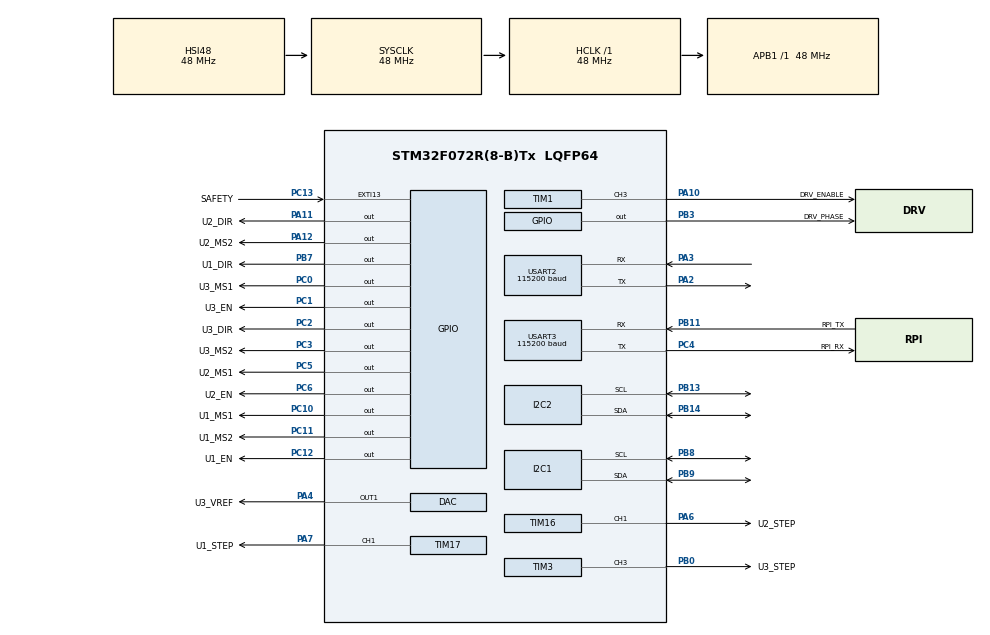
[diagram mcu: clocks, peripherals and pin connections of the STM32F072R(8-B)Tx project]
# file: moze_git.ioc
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CRC.InputDataInversionMode=CRC_INPUTDATA_INVERSION_BYTE
CRC.OutputDataInversionMode=CRC_OUTPUTDATA_INVERSION_ENABLE
Dma.Request0=USART3_RX
Dma.USART3_RX.0.Direction=DMA_PERIPH_TO_MEMORY
Dma.USART3_RX.0.Instance=DMA1_Channel3
Dma.USART3_RX.0.MemDataAlignment=DMA_MDATAALIGN_BYTE
Dma.USART3_RX.0.MemInc=DMA_MINC_ENABLE
Dma.USART3_RX.0.Mode=DMA_CIRCULAR
Dma.USART3_RX.0.PeriphDataAlignment=DMA_PDATAALIGN_BYTE
Dma.USART3_RX.0.PeriphInc=DMA_PINC_DISABLE
Dma.USART3_RX.0.Priority=DMA_PRIORITY_LOW
I2C1.I2C_Fall_Time=0
I2C1.I2C_Rise_Time=0
I2C2.Timing=0x20303E5D
Mcu.Family=STM32F0
Mcu.Name=STM32F072R(8-B)Tx
Mcu.Package=LQFP64
NVIC.DMA1_Channel2_3_IRQn=true\:0\:0\:false\:false\:true\:true\:true\:true
NVIC.EXTI4_15_IRQn=true\:0\:0\:false\:false\:true\:true\:true\:true
NVIC.TIM2_IRQn=true\:0\:0\:false\:false\:true\:true\:true\:true
NVIC.TIM6_DAC_IRQn=true\:0\:0\:false\:false\:true\:true\:true\:true
NVIC.TIM7_IRQn=true\:0\:0\:false\:false\:true\:true\:true\:true
NVIC.USART2_IRQn=true\:0\:0\:false\:false\:true\:true\:true\:true
NVIC.USART3_4_IRQn=true\:0\:0\:false\:false\:true\:true\:true\:true
PA10.GPIO_Label=DRV_ENABLE
PA10.Signal=S_TIM1_CH3
PA11.GPIO_Label=U2_DIR
PA11.Signal=GPIO_Output
PA12.GPIO_Label=U2_MS2
PA12.Signal=GPIO_Output
PA2.Mode=Asynchronous
PA2.Signal=USART2_TX
PA3.Mode=Asynchronous
PA3.Signal=USART2_RX
PA4.GPIO_Label=U3_VREF
PA4.Signal=COMP_DAC1_group
PA6.GPIO_Label=U2_STEP
PA6.Signal=S_TIM16_CH1
PA7.GPIO_Label=U1_STEP
PA7.Signal=S_TIM17_CH1
PB0.GPIO_Label=U3_STEP
PB0.Signal=S_TIM3_CH3
PB11.GPIO_Label=RPI_TX
PB11.Mode=Asynchronous
PB11.Signal=USART3_RX
PB13.Mode=I2C
PB13.Signal=I2C2_SCL
PB14.Mode=I2C
PB14.Signal=I2C2_SDA
PB3.GPIO_Label=DRV_PHASE
PB3.Signal=GPIO_Output
PB7.GPIO_Label=U1_DIR
PB7.Signal=GPIO_Output
PB8.Mode=I2C
PB8.Signal=I2C1_SCL
PB9.Mode=I2C
PB9.Signal=I2C1_SDA
PC0.GPIO_Label=U3_MS1
PC0.Signal=GPIO_Output
PC1.GPIO_Label=U3_EN
PC1.Signal=GPIO_Output
PC10.GPIO_Label=U1_MS1
PC10.Signal=GPIO_Output
PC11.GPIO_Label=U1_MS2
PC11.Signal=GPIO_Output
PC12.GPIO_Label=U1_EN
PC12.Signal=GPIO_Output
PC13.GPIO_Label=SAFETY
PC13.GPIO_PuPd=GPIO_PULLUP
PC13.Signal=GPXTI13
PC14-OSC32_IN.Mode=LSE-External-Oscillator
PC14-OSC32_IN.Signal=RCC_OSC32_IN
PC15-OSC32_OUT.Mode=LSE-External-Oscillator
PC15-OSC32_OUT.Signal=RCC_OSC32_OUT
PC2.GPIO_Label=U3_DIR
PC2.Signal=GPIO_Output
PC3.GPIO_Label=U3_MS2
PC3.Signal=GPIO_Output
PC4.GPIO_Label=RPI_RX
PC4.Mode=Asynchronous
PC4.Signal=USART3_TX
PC5.GPIO_Label=U2_MS1
PC5.Signal=GPIO_Output
PC6.GPIO_Label=U2_EN
PC6.Signal=GPIO_Output
ProjectManager.HeapSize=0x200
ProjectManager.StackSize=0x400
ProjectManager.TargetToolchain=STM32CubeIDE
RCC.AHBFreq_Value=48000000
RCC.APB1Freq_Value=48000000
RCC.APB1TimFreq_Value=48000000
RCC.HCLKFreq_Value=48000000
RCC.SYSCLKFreq_VALUE=48000000
RCC.SYSCLKSource=RCC_SYSCLKSOURCE_HSI48
SH.COMP_DAC1_group.0=DAC_OUT1,DAC_OUT1
SH.S_TIM16_CH1.0=TIM16_CH1,PWM Generation1 CH1
SH.S_TIM17_CH1.0=TIM17_CH1,PWM Generation1 CH1
SH.S_TIM1_CH3.0=TIM1_CH3,PWM Generation3 CH3
SH.S_TIM3_CH3.0=TIM3_CH3,PWM Generation3 CH3
TIM1.Channel-PWM\ Generation3\ CH3=TIM_CHANNEL_3
TIM1.Period=100-1
TIM1.Prescaler=3-1
TIM16.Channel=TIM_CHANNEL_1
TIM17.Channel=TIM_CHANNEL_1
TIM2.Period=10-1
TIM2.Prescaler=48000-1
TIM3.Channel-PWM\ Generation3\ CH3=TIM_CHANNEL_3
TIM3.Period=124
TIM3.Prescaler=47
TIM3.Pulse-PWM\ Generation3\ CH3=62
TIM7.Period=50-1
TIM7.Prescaler=48000-1
USART2.BaudRate=115200
USART2.VirtualMode-Asynchronous=VM_ASYNC
USART3.BaudRate=115200
USART3.DMADisableonRxErrorParam=ADVFEATURE_DMA_DISABLEONRXERROR
USART3.OverrunDisableParam=ADVFEATURE_OVERRUN_DISABLE
USART3.VirtualMode-Asynchronous=VM_ASYNC
VP_CRC_VS_CRC.Mode=CRC_Activate
VP_RCC_LSE.Mode=CRS SYNC Source LSE
VP_TIM16_VS_ClockSourceINT.Mode=Enable_Timer
VP_TIM17_VS_ClockSourceINT.Mode=Enable_Timer
VP_TIM1_VS_ClockSourceINT.Mode=Internal
VP_TIM2_VS_ClockSourceINT.Mode=Internal
VP_TIM3_VS_ClockSourceINT.Mode=Internal
VP_TIM7_VS_ClockSourceINT.Mode=Enable_Timer
board=custom

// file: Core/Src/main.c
/* USER CODE BEGIN Header */
/**
  ******************************************************************************
  * @file           : main.c
  * @brief          : Main program body
  ******************************************************************************
  * @attention
  *
  * Copyright (c) 2025 STMicroelectronics.
  * All rights reserved.
  *
  * This software is licensed under terms that can be found in the LICENSE file
  * in the root directory of this software component.
  * If no LICENSE file comes with this software, it is provided AS-IS.
  *
  ******************************************************************************
  */
/* USER CODE END Header */
#include "main.h"
#include "crc.h"
#include "dac.h"
#include "dma.h"
#include "i2c.h"
#include "tim.h"
#include "usart.h"
#include "gpio.h"

/* USER CODE BEGIN Includes */
#include "scara.h"
#include "tool.h"
/* USER CODE END Includes */

/* USER CODE BEGIN PV */
JOINT U1, U2, U3;
TOOL T;

#define BUFF_SIZE 40
uint8_t rx_buff[BUFF_SIZE], tx_buff[BUFF_SIZE];

float u, threshold = 0.15, u_last;
volatile uint8_t u1_done, u2_done, u3_done, tool_done;
/* USER CODE END PV */

void SystemClock_Config(void);
/* USER CODE BEGIN PFP */
void PresentationProcess(void);
/* USER CODE END PFP */

int main(void)
{

  /* MCU Configuration--------------------------------------------------------*/

  /* Reset of all peripherals, Initializes the Flash interface and the Systick. */
  HAL_Init();

  /* Configure the system clock */
  SystemClock_Config();

  /* Initialize all configured peripherals */
  MX_GPIO_Init();
  MX_DMA_Init();
  MX_DAC_Init();
  MX_I2C1_Init();
  MX_TIM1_Init();
  MX_TIM3_Init();
  MX_TIM16_Init();
  MX_TIM17_Init();
  MX_USART3_UART_Init();
  MX_TIM2_Init();
  MX_CRC_Init();
  MX_USART2_UART_Init();
  MX_TIM7_Init();
  MX_I2C2_Init();
  /* USER CODE BEGIN 2 */
  	  ToolInit();
	U1Init();
	U2Init();
	HAL_TIM_Base_Start_IT(&htim2);

	U3Init();
	HAL_TIM_Base_Start_IT(&htim7);

	HAL_UARTEx_ReceiveToIdle_DMA(&huart3, rx_buff, BUFF_SIZE - 4);
  /* USER CODE END 2 */

  /* Infinite loop */
  /* USER CODE BEGIN WHILE */
  while (1)
  {
	if (U1.meas.need_meas) {
		AS5600 *pas = &U1.meas.sen.enc;
		HAL_I2C_Mem_Read(pas->phi2c, pas->dev_addr << 1, pas->mem_addr, 1, pas->buff, 2, 5);
		UpdateAngleMeas(&U1.meas);
	}

	if (U2.meas.need_meas) {
		AS5600 *pas = &U2.meas.sen.enc;
		HAL_I2C_Mem_Read(pas->phi2c, pas->dev_addr << 1, pas->mem_addr, 1, pas->buff, 2, 5);
		UpdateAngleMeas(&U2.meas);
	} else if (U3.meas.need_meas) {
		MEAS *pmeas = &U3.meas;
		VL53L0X_RangingMeasurementData_t RangingData;
		VL53L0X_Error status = VL53L0X_GetRangingMeasurementData(pmeas->sen.tof.Dev, &RangingData);
		VL53L0X_ClearInterruptMask(pmeas->sen.tof.Dev, VL53L0X_REG_SYSTEM_INTERRUPT_GPIO_NEW_SAMPLE_READY);
		if (status == VL53L0X_ERROR_NONE && RangingData.RangeMilliMeter < 160.0 && RangingData.RangeMilliMeter > 30.0) {
			pmeas->measurement = (float)RangingData.RangeMilliMeter;
		}
		pmeas->need_meas = FALSE;
	} else if (T.ina.need_curr) {
		HAL_I2C_Mem_Read(T.ina.phi2c, T.ina.dev_addr << 1, T.ina.mem_addr, 1, T.ina.buff, 2, 5);
		uint16_t raw_voltage = (int16_t)((T.ina.buff[0] << 8) | T.ina.buff[1]);
		T.ina.curr = ((float)raw_voltage * 2.5e-6 * T.ina.sign) / T.ina.R_shunt;
		T.ina.need_curr = FALSE;
	}

	PresentationProcess();
    /* USER CODE END WHILE */

  }
}

void SystemClock_Config(void)
{
  RCC_OscInitTypeDef RCC_OscInitStruct = {0};
  RCC_ClkInitTypeDef RCC_ClkInitStruct = {0};
  RCC_PeriphCLKInitTypeDef PeriphClkInit = {0};
  RCC_CRSInitTypeDef RCC_CRSInitStruct = {0};

  /** Configure LSE Drive Capability
  */
  HAL_PWR_EnableBkUpAccess();
  __HAL_RCC_LSEDRIVE_CONFIG(RCC_LSEDRIVE_HIGH);

  /** Initializes the RCC Oscillators according to the specified parameters
  * in the RCC_OscInitTypeDef structure.
  */
  RCC_OscInitStruct.OscillatorType = RCC_OSCILLATORTYPE_HSI|RCC_OSCILLATORTYPE_HSI48
                              |RCC_OSCILLATORTYPE_LSE;
  RCC_OscInitStruct.LSEState = RCC_LSE_ON;
  RCC_OscInitStruct.HSIState = RCC_HSI_ON;
  RCC_OscInitStruct.HSI48State = RCC_HSI48_ON;
  RCC_OscInitStruct.HSICalibrationValue = RCC_HSICALIBRATION_DEFAULT;
  RCC_OscInitStruct.PLL.PLLState = RCC_PLL_NONE;
  if (HAL_RCC_OscConfig(&RCC_OscInitStruct) != HAL_OK)
  {
    Error_Handler();
  }

  /** Initializes the CPU, AHB and APB buses clocks
  */
  RCC_ClkInitStruct.ClockType = RCC_CLOCKTYPE_HCLK|RCC_CLOCKTYPE_SYSCLK
                              |RCC_CLOCKTYPE_PCLK1;
  RCC_ClkInitStruct.SYSCLKSource = RCC_SYSCLKSOURCE_HSI48;
  RCC_ClkInitStruct.AHBCLKDivider = RCC_SYSCLK_DIV1;
  RCC_ClkInitStruct.APB1CLKDivider = RCC_HCLK_DIV1;

  if (HAL_RCC_ClockConfig(&RCC_ClkInitStruct, FLASH_LATENCY_1) != HAL_OK)
  {
    Error_Handler();
  }
  PeriphClkInit.PeriphClockSelection = RCC_PERIPHCLK_USART2|RCC_PERIPHCLK_I2C1;
  PeriphClkInit.Usart2ClockSelection = RCC_USART2CLKSOURCE_PCLK1;
  PeriphClkInit.I2c1ClockSelection = RCC_I2C1CLKSOURCE_HSI;
  if (HAL_RCCEx_PeriphCLKConfig(&PeriphClkInit) != HAL_OK)
  {
    Error_Handler();
  }

  /** Enable the SYSCFG APB clock
  */
  __HAL_RCC_CRS_CLK_ENABLE();

  /** Configures CRS
  */
  RCC_CRSInitStruct.Prescaler = RCC_CRS_SYNC_DIV1;
  RCC_CRSInitStruct.Source = RCC_CRS_SYNC_SOURCE_LSE;
  RCC_CRSInitStruct.Polarity = RCC_CRS_SYNC_POLARITY_RISING;
  RCC_CRSInitStruct.ReloadValue = __HAL_RCC_CRS_RELOADVALUE_CALCULATE(48000000,32768);
  RCC_CRSInitStruct.ErrorLimitValue = 34;
  RCC_CRSInitStruct.HSI48CalibrationValue = 32;

  HAL_RCCEx_CRSConfig(&RCC_CRSInitStruct);
}

/* USER CODE BEGIN 4 */
void ToolInit(void) {
	{
		INA226 *pina = &T.ina;
		pina->phi2c = &hi2c2;
		pina->dev_addr = 0x40;
		pina->mem_addr = 0x01;
		pina->R_shunt = 0.1;
		pina->sign = -1.0;
	}
	{
		DC_MOT *pmot = &T.mot;
		pmot->dir_port = DRV_PHASE_GPIO_Port;
		pmot->dir_pin = DRV_PHASE_Pin;
		pmot->ppulse = &TIM1->CCR3;
		pmot->psign = &T.ina.sign;
	}
	{	//Kalman
		CALMAN *pcal = &T.cal;
		pcal->A[0][0] = 1.0; pcal->A[0][1] = 0.007869387;
		pcal->A[1][0] = 0.0; pcal->A[1][1] = 0.6065306;
		pcal->B[0] = 0.000004048165;
		pcal->B[1] = 0.0007475917;
		pcal->V[0][0] = 1e-6;	pcal->V[0][1] = 0.0;
		pcal->V[1][0] = 0.0;	pcal->V[1][1] = 1e-4;
		pcal->W = 0.001;
		pcal->Pe[0][0] = 10.0;
		pcal->Pe[1][1] = 1.0;
		pcal->xe[0] = 0.0;
		pcal->xe[1] = 0.0;
		pcal->last_u = 0.0;
	}
	{	//regulator
		REG *preg = &T.reg;
		preg->K1 = 2675.257; preg->K2 = -139.5136;
		preg->Kr = 2675.257;
	}
	HAL_TIM_PWM_Start(&htim1, TIM_CHANNEL_3);
	T.ina.need_curr = TRUE;
}
void U1Init(void) {
	U1.id = 1;

	{	//czujnik kata
		AS5600 *pas = &U1.meas.sen.enc;
		pas->phi2c = &hi2c1;
		pas->dev_addr = 0x36;
		pas->mem_addr = 0x0c;
		pas->lr = 0;
		pas->prev_angle = INIT;
	}

	{	//sterownik silnika
		MOTOR *pmot = &U1.mot;
		pmot->ms1_port = U1_MS1_GPIO_Port;
		pmot->ms1_pin = U1_MS1_Pin;
		pmot->ms2_port = U1_MS2_GPIO_Port;
		pmot->ms2_pin  = U1_MS2_Pin;
		pmot->en_port = U1_EN_GPIO_Port;
		pmot->en_pin  = U1_EN_Pin;
		pmot->dir_port = U1_DIR_GPIO_Port;
		pmot->dir_pin  = U1_DIR_Pin;
		pmot->ptim = TIM17;
		pmot->ppulse = &(TIM17->CCR1);
	}

	{	//Kalman
		CALMAN *pcal = &U1.cal;
		pcal->A[0][0] = 1.0; pcal->A[0][1] = 0.007869387;
		pcal->A[1][0] = 0.0; pcal->A[1][1] = 0.6065306;
		pcal->B[0] = 0.000004048165;
		pcal->B[1] = 0.0007475917;
		pcal->V[0][0] = 1e-6;	pcal->V[0][1] = 0.0;
		pcal->V[1][0] = 0.0;	pcal->V[1][1] = 1e-4;
		pcal->W = 0.001;
		pcal->Pe[0][0] = 10.0;
		pcal->Pe[1][1] = 1.0;
		pcal->xe[0] = 0.0;
		pcal->xe[1] = 0.0;
		pcal->last_u = 0.0;
	}

	{	//regulator
		REG *preg = &U1.reg;
		preg->K1 = 2675.257; preg->K2 = -139.5136;
		preg->Kr = 2675.257;
	}

	{	//rampa
		RAMP *pramp = &U1.ramp;
		pramp->target_value = INIT;
		pramp->state = END;
		pramp->k = 0.7;
		pramp->dt = 0.01;
		//eps, actual, t
	}
	//ustawienie 1/8 krokow
	HAL_GPIO_WritePin(U1.mot.ms1_port, U1.mot.ms1_pin, FALSE);
	HAL_GPIO_WritePin(U1.mot.ms2_port, U1.mot.ms2_pin, FALSE);

	HAL_GPIO_WritePin(U1.mot.en_port, U1.mot.en_pin, FALSE);

	Control2Freq(&U1.mot, 0.0);
	HAL_TIM_PWM_Start(&htim17, TIM_CHANNEL_1);

	U1.meas.need_meas = TRUE;
}

void U2Init(void) {
	U2.id = 2;

	{	//czujnik kata
		AS5600 *pas = &U2.meas.sen.enc;
		pas->phi2c = &hi2c2;
		pas->dev_addr = 0x36;
		pas->mem_addr = 0x0c;
		pas->lr = 0;
		pas->prev_angle = INIT;
	}

	{	//sterownik silnika
		MOTOR *pmot = &U2.mot;
		pmot->ms1_port = U2_MS1_GPIO_Port;
		pmot->ms1_pin = U2_MS1_Pin;
		pmot->ms2_port = U2_MS2_GPIO_Port;
		pmot->ms2_pin  = U2_MS2_Pin;
		pmot->en_port = U2_EN_GPIO_Port;
		pmot->en_pin  = U2_EN_Pin;
		pmot->dir_port = U2_DIR_GPIO_Port;
		pmot->dir_pin  = U2_DIR_Pin;
		pmot->ptim = TIM16;
		pmot->ppulse = &(TIM16->CCR1);
	}

	{	//Kalman
		CALMAN *pcal = &U2.cal;
		pcal->A[0][0] = 1.0; pcal->A[0][1] = 0.006321205;
		pcal->A[1][0] = 0.0; pcal->A[1][1] = 0.3678794;
		pcal->B[0] = 0.00001434730;
		pcal->B[1] = 0.002465270;
		pcal->V[0][0] = 1e-6;	pcal->V[0][1] = 0.0;
		pcal->V[1][0] = 0.0;	pcal->V[1][1] = 1e-4;
		pcal->W = 0.001;
		pcal->Pe[0][0] = 10.0;
		pcal->Pe[1][1] = 1.0;
		pcal->xe[0] = 0.0;
		pcal->xe[1] = 0.0;
		pcal->last_u = 0.0;
	}

	{	//regulator
		REG *preg = &U2.reg;
		preg->K1 = 811.2701; preg->K2 = -139.4411;
		preg->Kr = 811.2701;
	}

	{	//rampa
		RAMP *pramp = &U2.ramp;
		pramp->target_value = INIT;
		pramp->state = END;
		pramp->k = 0.6;
		pramp->dt = 0.01;
		//eps, actual, t
	}
	//ustawienie 1/8 krokow
	HAL_GPIO_WritePin(U2.mot.ms1_port, U2.mot.ms1_pin, FALSE);
	HAL_GPIO_WritePin(U2.mot.ms2_port, U2.mot.ms2_pin, FALSE);

	HAL_GPIO_WritePin(U2.mot.en_port, U2.mot.en_pin, FALSE);

	Control2Freq(&U2.mot, 0.0);
	HAL_TIM_PWM_Start(&htim16, TIM_CHANNEL_1);

	U2.meas.need_meas = TRUE;
}
void U3Init(void) {
	U3.id = 3;
	//ustawienie maksymalnego pradu
	HAL_DAC_SetValue(&hdac, DAC_CHANNEL_1, DAC_ALIGN_12B_R, (uint32_t)(1.2 / 3.3 * 4095.0));
	HAL_DAC_Start(&hdac, DAC_CHANNEL_1);

	{	//czujnik odleglosci
		VL53L0X *ptof = &U3.meas.sen.tof;
		ptof->Dev = &ptof->vl53l0x_c;
		ptof->Dev->I2cHandle = &hi2c2;
		ptof->Dev->I2cDevAddr = 0x52;
		VL53L0X_WaitDeviceBooted(ptof->Dev);
		VL53L0X_DataInit(ptof->Dev);
		VL53L0X_StaticInit(ptof->Dev);
		uint32_t temp;
		VL53L0X_PerformRefCalibration(ptof->Dev, (uint8_t *)&temp, (uint8_t *)&temp);
		VL53L0X_PerformRefSpadManagement(ptof->Dev, &temp, (uint8_t *)&temp);
		VL53L0X_SetDeviceMode(ptof->Dev, VL53L0X_DEVICEMODE_CONTINUOUS_RANGING);
		VL53L0X_StartMeasurement(ptof->Dev);
	}

	{	//sterownik silnika
		MOTOR *pmot = &U3.mot;
		pmot->ms1_port = U3_MS1_GPIO_Port;
		pmot->ms1_pin = U3_MS1_Pin;
		pmot->ms2_port = U3_MS2_GPIO_Port;
		pmot->ms2_pin  = U3_MS2_Pin;
		pmot->en_port = U3_EN_GPIO_Port;
		pmot->en_pin  = U3_EN_Pin;
		pmot->dir_port = U3_DIR_GPIO_Port;
		pmot->dir_pin  = U3_DIR_Pin;
		pmot->ptim = TIM3;
		pmot->ppulse = &(TIM3->CCR3);
	}

	{	//Kalman
		CALMAN *pcal = &U3.cal;
		pcal->A[0][0] = 1.0; 	pcal->A[0][1] = 0.03934693;
		pcal->A[1][0] = 0.0; 	pcal->A[1][1] = 0.6065306;
		pcal->B[0] = -0.0002343674;
		pcal->B[1] = -0.008656325;

		float war = 100;
		pcal->V[0][0] = war * 0.0000015625;pcal->V[0][1] = war * 0.0000625;//pcal->V[0][0] = 2.25e-7;pcal->V[0][1] = 4.5e-7;
		pcal->V[1][0] = war * 0.0000625;	pcal->V[1][1] = war * 0.0025;//pcal->V[1][0] = 4.5e-7;	pcal->V[1][1] = 9.0e-6;

		//wariancja 1.1839
		pcal->W = 1.1839;//6.85e-5;

		pcal->Pe[0][0] = 10.0;
		pcal->Pe[1][1] = 1.0;

		pcal->xe[0] = 0.0;
		pcal->xe[1] = 0.0;
		pcal->last_u = 0.0;
	}

	{	//regulator
		REG *preg = &U3.reg;
		preg->K1 = -104.3264; preg->K2 = -19.67882;
		preg->Kr = -104.3264;
	}

	{	//rampa
		RAMP *pramp = &U3.ramp;
		pramp->target_value = INIT;
		pramp->state = END;
		pramp->k = 0.06;
		pramp->dt = 0.05;
	}

	//ustawienie 1/8 krokow
	HAL_GPIO_WritePin(U3.mot.ms1_port, U3.mot.ms1_pin, FALSE);
	HAL_GPIO_WritePin(U3.mot.ms2_port, U3.mot.ms2_pin, FALSE);

	HAL_GPIO_WritePin(U3.mot.en_port, U3.mot.en_pin, FALSE);

	Control2Freq(&U3.mot, 0.0);
	HAL_TIM_PWM_Start(&htim3, TIM_CHANNEL_3);

	U1.meas.need_meas = TRUE;
}
void HAL_UARTEx_RxEventCallback(UART_HandleTypeDef *huart, uint16_t Size) {
	if (huart == &huart3) {
		uint8_t length = 12;
		uint8_t start = BUFF_SIZE + Size - length;
		uint8_t temp_buff[length];
		for (uint8_t i = 0; i < length; i++) {
		    temp_buff[i] = rx_buff[(start + i) % BUFF_SIZE];
		}

		uint32_t rec_crc, cal_crc;
		memcpy(&rec_crc, temp_buff + 8, sizeof(uint32_t));
		cal_crc = HAL_CRC_Calculate(&hcrc, (uint32_t *)temp_buff, 8) ^ 0xffffffff;
		if (cal_crc != rec_crc) {//zle crc
			return;
		}
		uint8_t header = temp_buff[0];
		if (header != INIT) {//zly naglowek
			return;
		}
		float target;
		uint8_t id = temp_buff[1];
		switch (id) {//parsing danych
			case 0: {
				memcpy(&target, temp_buff + 4, sizeof(float));
				if (fabs(target - 1.0) < EPS) {
					u = 10.0;
				} else {
					u = -10.0;
				}
				//logika po otrzymaniou wiadomsoci apropos chwytaka
			} break;
			case 1: {
				if (U1.ramp.state != END) return;
				memcpy(&target, temp_buff + 4, sizeof(float));
				U1.ramp.target_value = target * M_PI / 180.0;
				U1.ramp.state = BEGIN;
			} break;
			case 2: {
				if (U2.ramp.state != END) return;
				memcpy(&target, temp_buff + 4, sizeof(float));
				U2.ramp.target_value = target * M_PI / 180.0;
				U2.ramp.state = BEGIN;
			} break;
			case 3: {
				if (U3.ramp.state != END) return;
				memcpy(&target, temp_buff + 4, sizeof(float));
				target = 2.657e-3 * target * target + 0.797 * target + 34.8;
				U3.ramp.target_value = target;
				U3.ramp.state = BEGIN;
			} break;
			default: {
				return;
			}
		}
	}
}
void onRampFinish(uint8_t id) {
	uint8_t size = sprintf((char *) tx_buff, "%d", id);

	switch (id) {
	case 0:
		tool_done = 1;
		break;
	case 1:
		u1_done = 1;
		break;
	case 2:
		u2_done = 1;
		break;
	case 3:
		u3_done = 1;
		break;
	}

	HAL_UART_Transmit_IT(&huart3, tx_buff, size);
}
void HAL_TIM_PeriodElapsedCallback(TIM_HandleTypeDef *htim) {
	if (htim == &htim2) {

		ControlLoop(&U1);

		ControlLoop(&U2);

		TOOL *pt = &T;
		if (fabs(T.ina.curr) > threshold) {
			u = 0.0;
			onRampFinish(0);
		} else if (fabs(u) < 100.0 && fabs(u) > 0.001) {
			if (u > 0.0)
			    u += 10.0;
			else
			    u -= 10.0;
		}
		Control2PWM(&pt->mot, u);
		pt->ina.need_curr = TRUE;

		printf("%ld %f %f\r\n", HAL_GetTick(), T.ina.curr, u);
	} else if (htim == &htim7) {
		ControlLoop(&U3);
		//do realnych 1.845e-3 * (float)RangingData.RangeMilliMeter * (float)RangingData.RangeMilliMeter+ 1.25 * (float)RangingData.RangeMilliMeter - 39.58;
	}
}

void PresentationProcess(void) {

    if (HAL_GetTick() < 5000) {
        return;
    }

    static uint8_t state = 0;
    static uint8_t state_entry = 1;
    float target;
    static uint8_t delay = 0;
    static uint32_t tick, sleep = 2000;

    switch (state) {

    // otworzenie chwytaka i ruch ponad klocki
    case 0:
        if (state_entry) {
        	tool_done = 0;
        	u3_done = 0;

            u = -0.01;

            target = 70.0;
			target = 2.657e-3 * target * target + 0.797 * target + 34.8;
			U3.ramp.target_value = target;
			U3.ramp.state = BEGIN;

            state_entry = 0;
        }

        if (tool_done && u3_done) {
        	if (delay == 0) {
        		delay = 1;
        		tick = HAL_GetTick();
        	} else if (HAL_GetTick() - tick > sleep) {
        		delay = 0;;
                state = 1;
                state_entry = 1;
        	}
        }
        break;

    // ustawienie sie nad pierwszym klockiem
    case 1:
        if (state_entry) {
        	u1_done = 0;
        	u2_done = 0;

            U1.ramp.target_value = -1.0995;
            U1.ramp.state = BEGIN;

            U2.ramp.target_value = 1.065;
            U2.ramp.state = BEGIN;

            state_entry = 0;
        }

        if (u1_done && u2_done) {
            state = 2;
            state_entry = 1;
        }
        break;

	//zjechanie po pierwszy klocek
	case 2:
        if (state_entry) {
        	u3_done = 0;

        	target = 100.0;
			target = 2.657e-3 * target * target + 0.797 * target + 34.8;
			U3.ramp.target_value = target;
			U3.ramp.state = BEGIN;

            state_entry = 0;
        }

        if (u3_done) {
        	if (delay == 0) {
        		delay = 1;
        		tick = HAL_GetTick();
        	} else if (HAL_GetTick() - tick > sleep) {
        		delay = 0;;
                state = 3;
                state_entry = 1;
        	}
        }
        break;

	//zacisniecie pierwszego klocka
	case 3:
        if (state_entry) {
        	tool_done = 0;

            u = 0.01;

            state_entry = 0;
        }

        if (tool_done) {
            state = 4;
            state_entry = 1;
        }
        break;

	//jazda do gory
	case 4:
		if (state_entry) {
			u3_done = 0;

			target = 90.0;
			target = 2.657e-3 * target * target + 0.797 * target + 34.8;
			U3.ramp.target_value = target;
			U3.ramp.state = BEGIN;

			state_entry = 0;
		}

		if (u3_done) {
        	if (delay == 0) {
        		delay = 1;
        		tick = HAL_GetTick();
        	} else if (HAL_GetTick() - tick > sleep) {
        		delay = 0;;
                state = 5;
                state_entry = 1;
        	}
		}
		break;

	//jazda na miejsce wierzy
	case 5:
		if (state_entry) {
			u1_done = 0;
			u2_done = 0;

			U1.ramp.target_value = 0.541;
			U1.ramp.state = BEGIN;

			U2.ramp.target_value = -2.199;
			U2.ramp.state = BEGIN;

			state_entry = 0;
		}

		if (u1_done && u2_done) {
			state = 6;
			state_entry = 1;
		}
		break;

	//jazda w dol
	case 6:
		if (state_entry) {
			u3_done = 0;

			target = 100.0;
			target = 2.657e-3 * target * target + 0.797 * target + 34.8;
			U3.ramp.target_value = target;
			U3.ramp.state = BEGIN;

			state_entry = 0;
		}

		if (u3_done) {
        	if (delay == 0) {
        		delay = 1;
        		tick = HAL_GetTick();
        	} else if (HAL_GetTick() - tick > sleep) {
        		delay = 0;;
                state = 7;
                state_entry = 1;
        	}
		}
		break;

	//otworzenie chwytaka
	case 7:
		if (state_entry) {
        	tool_done = 0;
			u = -0.01;

			state_entry = 0;
		}

		if (tool_done) {
			state = 8;
			state_entry = 1;
		}
		break;

	//jazda w gore
	case 8:
		if (state_entry) {
			u3_done = 0;

			target = 70.0;
			target = 2.657e-3 * target * target + 0.797 * target + 34.8;
			U3.ramp.target_value = target;
			U3.ramp.state = BEGIN;

			state_entry = 0;
		}

		if (u3_done) {
        	if (delay == 0) {
        		delay = 1;
        		tick = HAL_GetTick();
        	} else if (HAL_GetTick() - tick > sleep) {
        		delay = 0;;
                state = 9;
                state_entry = 1;
        	}
		}
		break;

	//jazda nad drugi klocek
	case 9:
		if (state_entry) {
			u1_done = 0;
			u2_done = 0;

			U1.ramp.target_value = -1.5708;
			U1.ramp.state = BEGIN;

			U2.ramp.target_value = 1.5185;
			U2.ramp.state = BEGIN;

			state_entry = 0;
		}

		if (u1_done && u2_done) {
			state = 10;
			state_entry = 1;
		}
		break;

	//jazda w gore
	case 10:
		if (state_entry) {
			u3_done = 0;

			target = 100.0;
			target = 2.657e-3 * target * target + 0.797 * target + 34.8;
			U3.ramp.target_value = target;
			U3.ramp.state = BEGIN;

			state_entry = 0;
		}

		if (u3_done) {
        	if (delay == 0) {
        		delay = 1;
        		tick = HAL_GetTick();
        	} else if (HAL_GetTick() - tick > sleep) {
        		delay = 0;;
                state = 11;
                state_entry = 1;
        	}
		}
		break;

	//otworzenie chwytaka
	case 11:
		if (state_entry) {
			tool_done = 0;
			u = 0.01;

			state_entry = 0;
		}

		if (tool_done) {
			state = 12;
			state_entry = 1;
		}
		break;

	//jazda w gore
	case 12:
		if (state_entry) {
			u3_done = 0;

			target = 60.0;
			target = 2.657e-3 * target * target + 0.797 * target + 34.8;
			U3.ramp.target_value = target;
			U3.ramp.state = BEGIN;

			state_entry = 0;
		}

		if (u3_done) {
        	if (delay == 0) {
        		delay = 1;
        		tick = HAL_GetTick();
        	} else if (HAL_GetTick() - tick > sleep) {
        		delay = 0;;
                state = 13;
                state_entry = 1;
        	}
		}
		break;

	//jazda na miejsce wierzy
	case 13:
		if (state_entry) {
			u1_done = 0;
			u2_done = 0;

			U1.ramp.target_value = 0.541;
			U1.ramp.state = BEGIN;

			U2.ramp.target_value = -2.199;
			U2.ramp.state = BEGIN;

			state_entry = 0;
		}

		if (u1_done && u2_done) {
			state = 14;
			state_entry = 1;
		}
		break;

	//jazda w gore
	case 14:
		if (state_entry) {
			u3_done = 0;

			target = 70.0;
			target = 2.657e-3 * target * target + 0.797 * target + 34.8;
			U3.ramp.target_value = target;
			U3.ramp.state = BEGIN;

			state_entry = 0;
		}

		if (u3_done) {
        	if (delay == 0) {
        		delay = 1;
        		tick = HAL_GetTick();
        	} else if (HAL_GetTick() - tick > sleep) {
        		delay = 0;;
                state = 15;
                state_entry = 1;
        	}
		}
		break;

	//otworzenie chwytaka
	case 15:
		if (state_entry) {
			tool_done = 0;
			u = -0.01;

			state_entry = 0;
		}

		if (tool_done) {
			state = 16;
			state_entry = 1;
		}
		break;

	//jazda w gore
	case 16:
		if (state_entry) {
			u3_done = 0;

			target = 40.0;
			target = 2.657e-3 * target * target + 0.797 * target + 34.8;
			U3.ramp.target_value = target;
			U3.ramp.state = BEGIN;

			state_entry = 0;
		}

		if (u3_done) {
        	if (delay == 0) {
        		delay = 1;
        		tick = HAL_GetTick();
        	} else if (HAL_GetTick() - tick > sleep) {
        		delay = 0;;
                state = 17;
                state_entry = 1;
        	}
		}
		break;

	//jazda na miejsce wierzy
	case 17:
		if (state_entry) {
			u1_done = 0;
			u2_done = 0;

			U1.ramp.target_value = -1.972;
			U1.ramp.state = BEGIN;

			U2.ramp.target_value = 1.5185;
			U2.ramp.state = BEGIN;

			state_entry = 0;
		}

		if (u1_done && u2_done) {
			state = 18;
			state_entry = 1;
		}
		break;

	//jazda w gore
	case 18:
		if (state_entry) {
			u3_done = 0;

			target = 100.0;
			target = 2.657e-3 * target * target + 0.797 * target + 34.8;
			U3.ramp.target_value = target;
			U3.ramp.state = BEGIN;

			state_entry = 0;
		}

		if (u3_done) {
        	if (delay == 0) {
        		delay = 1;
        		tick = HAL_GetTick();
        	} else if (HAL_GetTick() - tick > sleep) {
        		delay = 0;;
                state = 19;
                state_entry = 1;
        	}
		}
		break;

	//otworzenie chwytaka
	case 19:
		if (state_entry) {
			tool_done = 0;
			u = 0.01;

			state_entry = 0;
		}

		if (tool_done) {
			state = 20;
			state_entry = 1;
		}
		break;

	//jazda w gore
	case 20:
		if (state_entry) {
			u3_done = 0;

			target = 30.0;
			target = 2.657e-3 * target * target + 0.797 * target + 34.8;
			U3.ramp.target_value = target;
			U3.ramp.state = BEGIN;

			state_entry = 0;
		}

		if (u3_done) {
        	if (delay == 0) {
        		delay = 1;
        		tick = HAL_GetTick();
        	} else if (HAL_GetTick() - tick > sleep) {
        		delay = 0;;
                state = 21;
                state_entry = 1;
        	}
		}
		break;

	//jazda na miejsce wierzy
	case 21:
		if (state_entry) {
			u1_done = 0;
			u2_done = 0;

			U1.ramp.target_value = 0.541;
			U1.ramp.state = BEGIN;

			U2.ramp.target_value = -2.199;
			U2.ramp.state = BEGIN;

			state_entry = 0;
		}

		if (u1_done && u2_done) {
			state = 22;
			state_entry = 1;
		}
		break;

	//jazda w gore
	case 22:
		if (state_entry) {
			u3_done = 0;

			target = 40.0;
			target = 2.657e-3 * target * target + 0.797 * target + 34.8;
			U3.ramp.target_value = target;
			U3.ramp.state = BEGIN;

			state_entry = 0;
		}

		if (u3_done) {
        	if (delay == 0) {
        		delay = 1;
        		tick = HAL_GetTick();
        	} else if (HAL_GetTick() - tick > sleep) {
        		delay = 0;;
                state = 23;
                state_entry = 1;
        	}
		}
		break;

	case 23:
		if (state_entry) {
			tool_done = 0;
			u = -0.01;

			state_entry = 0;
		}

		if (tool_done) {
			state = 24;
			state_entry = 1;
		}
		break;

	//jazda w gore
	case 24:
		if (state_entry) {
			u3_done = 0;

			target = 10.0;
			target = 2.657e-3 * target * target + 0.797 * target + 34.8;
			U3.ramp.target_value = target;
			U3.ramp.state = BEGIN;

			state_entry = 0;
		}

		if (u3_done) {
        	if (delay == 0) {
        		delay = 1;
        		tick = HAL_GetTick();
        	} else if (HAL_GetTick() - tick > sleep) {
        		delay = 0;;
                state = 25;
                state_entry = 1;
        	}
		}
		break;

		//jazda na miejsce wierzy
		case 25:
			if (state_entry) {
				u1_done = 0;
				u2_done = 0;

				U1.ramp.target_value = -1.8;
				U1.ramp.state = BEGIN;

				U2.ramp.target_value = 1.57;
				U2.ramp.state = BEGIN;

				state_entry = 0;
			}

			if (u1_done && u2_done) {
				state = 26;
				state_entry = 1;
			}
			break;
	default:
		return;
		break;
    }
}
/************************** DEBUG **************************/
void HAL_GPIO_EXTI_Callback(uint16_t GPIO_Pin) {
	if (GPIO_Pin == SAFETY_Pin) {
		static uint32_t last_tick = 101;
	    if ((HAL_GetTick() - last_tick) > 100) {
	    	HAL_GPIO_TogglePin(U1_EN_GPIO_Port, U1_EN_Pin);
	    	HAL_GPIO_TogglePin(U2_EN_GPIO_Port, U2_EN_Pin);
	    	HAL_GPIO_TogglePin(U3_EN_GPIO_Port, U3_EN_Pin);
	    	u = 0.0;
			Control2PWM(&T.mot, 0);

	        last_tick = HAL_GetTick();
	    }
	}
}

int _write(int file, char *ptr, int len) {
	return HAL_UART_Transmit_IT(&huart2, (uint8_t *)ptr, len);
}
/************************** DEBUG **************************/

/* USER CODE END 4 */

void Error_Handler(void)
{
  /* USER CODE BEGIN Error_Handler_Debug */
  /* User can add his own implementation to report the HAL error return state */
	HAL_GPIO_WritePin(U1_EN_GPIO_Port, U1_EN_Pin, TRUE);
	HAL_GPIO_WritePin(U2_EN_GPIO_Port, U2_EN_Pin, TRUE);
	HAL_GPIO_WritePin(U3_EN_GPIO_Port, U3_EN_Pin, TRUE);
	while (1)
	{
	}
  /* USER CODE END Error_Handler_Debug */
}
